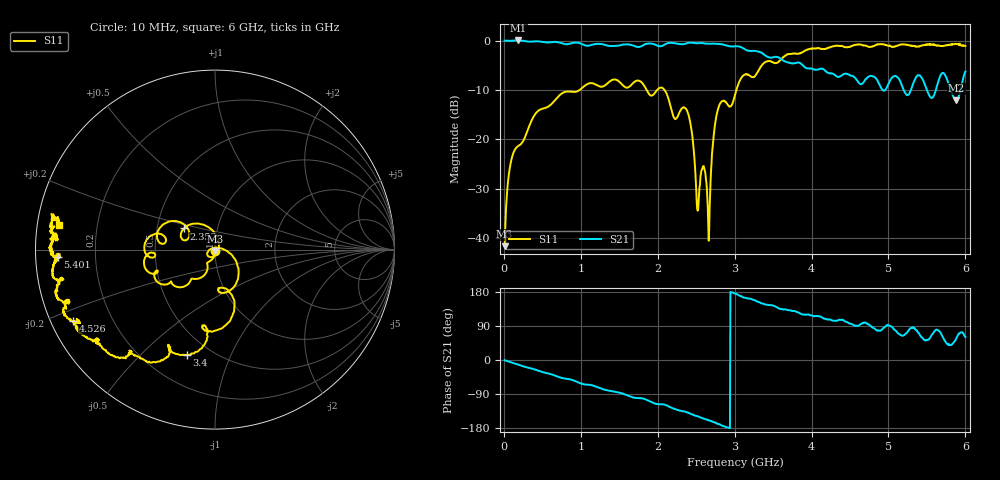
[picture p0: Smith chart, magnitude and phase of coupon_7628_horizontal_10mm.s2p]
! NanoVNA-App
! Date: 2026-10-17 11:45:24
! Start: 10MHz Stop: 6GHz Points: 1001
! S-Parameter data: F S11 S21 S12 S22
# Hz S RI R 50
!  Frequency  S11_Real  S11_Imag  S21_Real  S21_Imag  S12_Real  S12_Imag  S22_Real  S22_Imag
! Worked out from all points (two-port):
!   1001 points, 10 MHz to 6 GHz, reference 50 ohm
!   highest |S21| = 0.03 dB at 189.7 MHz (marker M1); lowest = -12.1 dB at 5.88 GHz (marker M2)
!   |S21| within 3 dB of the highest: start of sweep to 3.393 GHz
!   lowest |S11| = -41.6 dB at 10 MHz (marker M3), VSWR 1.02, Z = 50.3 - j0.788 ohm
!   |S11| at or under -10 dB: start of sweep to 983.1 MHz; 1.856 GHz to 1.993 GHz (137.4 MHz wide, 7.14 % of centre); 2.089 GHz to 3.024 GHz (934.3 MHz wide, 36.5 % of centre)
!   S12 and S22 are empty: the file has one direction only
!   S11 on the Smith chart (normalised r, x): 10 MHz: 1.01, -0.02; 2.352 GHz: 0.69, +0.17; 3.4 GHz: 0.37, -0.70; 4.526 GHz: 0.06, -0.24; 5.401 GHz: 0.07, -0.02; 6 GHz: 0.06, +0.08
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1e7  0.00274 -0.00784  1.001 -0.00951  0 0  0 0
8.188e7  -0.014 -0.052  0.9905 -0.0912  0 0  0 0
1.897e8  -0.0447 -0.0737  0.9811 -0.2102  0 0  0 0
4.4128e8  -0.1029 -0.1633  0.8699 -0.4581  0 0  0 0
1.01033e9  -0.2656 -0.1936  0.4269 -0.8236  0 0  0 0
2.01066e9  -0.3208 0.0589  -0.3933 -0.7867  0 0  0 0
2.35209e9  -0.1722 0.1181  -0.6645 -0.6423  0 0  0 0
2.43595e9  -0.0361 0.1251  -0.7624 -0.572  0 0  0 0
2.51382e9  0.0197 0.00173  -0.8006 -0.4942  0 0  0 0
2.59169e9  -0.0405 -0.0349  -0.8515 -0.4094  0 0  0 0
2.65758e9  -0.0113 0.00857  -0.8714 -0.3243  0 0  0 0
2.77738e9  0.1309 -0.1413  -0.9078 -0.1936  0 0  0 0
3.005e9  0.0977 -0.2633  -0.8734 0.0671  0 0  0 0
3.40034e9  -0.1566 -0.5873  -0.5882 0.3911  0 0  0 0
4.00533e9  -0.6075 -0.56  -0.2369 0.4611  0 0  0 0
4.52646e9  -0.7896 -0.3991  -0.0363 0.4375  0 0  0 0
5.00566e9  -0.8677 -0.1796  -0.00668 0.3751  0 0  0 0
5.401e9  -0.8747 -0.0403  0.1644 0.4148  0 0  0 0
5.56273e9  -0.9096 0.0355  0.1058 0.2399  0 0  0 0
5.71847e9  -0.884 0.0581  0.2596 0.3889  0 0  0 0
5.8802e9  -0.9076 0.1568  0.1401 0.2058  0 0  0 0
6e9  -0.8698 0.1395  0.2384 0.4246  0 0  0 0
